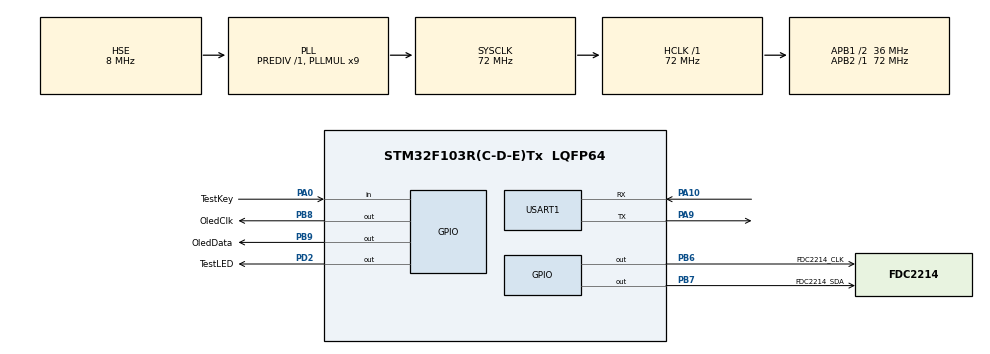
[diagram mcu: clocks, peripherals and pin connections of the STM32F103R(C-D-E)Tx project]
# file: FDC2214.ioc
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Mcu.Family=STM32F1
Mcu.Name=STM32F103R(C-D-E)Tx
Mcu.Package=LQFP64
NVIC.PriorityGroup=NVIC_PRIORITYGROUP_4
NVIC.TIM7_IRQn=true\:0\:0\:false\:false\:true\:true\:true\:true
NVIC.USART1_IRQn=true\:0\:0\:false\:false\:true\:true\:true\:true
PA0-WKUP.GPIO_Label=TestKey
PA0-WKUP.Signal=GPIO_Input
PA10.Mode=Asynchronous
PA10.Signal=USART1_RX
PA13.Mode=Serial_Wire
PA13.Signal=SYS_JTMS-SWDIO
PA14.Mode=Serial_Wire
PA14.Signal=SYS_JTCK-SWCLK
PA9.Mode=Asynchronous
PA9.Signal=USART1_TX
PB6.GPIO_Label=FDC2214_CLK
PB6.Signal=GPIO_Output
PB7.GPIO_Label=FDC2214_SDA
PB7.Signal=GPIO_Output
PB8.GPIO_Label=OledClk
PB8.Signal=GPIO_Output
PB9.GPIO_Label=OledData
PB9.Signal=GPIO_Output
PD0-OSC_IN.Mode=HSE-External-Oscillator
PD0-OSC_IN.Signal=RCC_OSC_IN
PD1-OSC_OUT.Mode=HSE-External-Oscillator
PD1-OSC_OUT.Signal=RCC_OSC_OUT
PD2.GPIO_Label=TestLED
PD2.Signal=GPIO_Output
ProjectManager.HeapSize=0x200
ProjectManager.StackSize=0x400
ProjectManager.TargetToolchain=MDK-ARM V5.32
RCC.AHBFreq_Value=72000000
RCC.APB1CLKDivider=RCC_HCLK_DIV2
RCC.APB1Freq_Value=36000000
RCC.APB1TimFreq_Value=72000000
RCC.APB2Freq_Value=72000000
RCC.APB2TimFreq_Value=72000000
RCC.HCLKFreq_Value=72000000
RCC.PLLMUL=RCC_PLL_MUL9
RCC.PLLSourceVirtual=RCC_PLLSOURCE_HSE
RCC.SYSCLKFreq_VALUE=72000000
RCC.SYSCLKSource=RCC_SYSCLKSOURCE_PLLCLK
RCC.USBFreq_Value=72000000
TIM7.Period=999
TIM7.Prescaler=71
USART1.VirtualMode=VM_ASYNC
VP_TIM7_VS_ClockSourceINT.Mode=Enable_Timer
board=custom

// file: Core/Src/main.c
/* USER CODE BEGIN Header */
/**
  ******************************************************************************
  * @file           : main.c
  * @brief          : Main program body
  ******************************************************************************
  * @attention
  *
  * Copyright (c) 2023 STMicroelectronics.
  * All rights reserved.
  *
  * This software is licensed under terms that can be found in the LICENSE file
  * in the root directory of this software component.
  * If no LICENSE file comes with this software, it is provided AS-IS.
  *
  ******************************************************************************
  */
/* USER CODE END Header */
#include "main.h"
#include "tim.h"
#include "usart.h"
#include "gpio.h"

/* USER CODE BEGIN Includes */
#include "stdio.h"
#include "oled_iic.h"
#include "STM32OledKey.h"
#include "Menu.h"
#include "string.h"
#include "iic.h"
#include "FDC2214.h"
/* USER CODE END Includes */

void SystemClock_Config(void);

int main(void)
{
  /* USER CODE BEGIN 1 */
//	u8 lcd_id[12];
	u16 C_date=0;
	u16 ID=0;

	u16 C_CH0_data=0;
	u16 C_CH0_data_low=0;
//  u32 C_CHO_data_final = 0;

	u16 C_CH1_data=0;
	u16 C_CH1_data_low=0;
	u32 C_CH1_data_final=0;

	u16 C_CH2_data=0;
	u16 C_CH2_data_low=0;
	u32 C_CH2_data_final=0;

	u16 C_CH3_data=0;
	u16 C_CH3_data_low=0;
	u32 C_CH3_data_final=0;

  /* USER CODE END 1 */

  /* MCU Configuration--------------------------------------------------------*/

  /* Reset of all peripherals, Initializes the Flash interface and the Systick. */
  HAL_Init();

  /* Configure the system clock */
  SystemClock_Config();

  /* Initialize all configured peripherals */
  MX_GPIO_Init();
  MX_TIM7_Init();
  MX_USART1_UART_Init();
  /* USER CODE BEGIN 2 */
	OledKeyInit(); //OLED、按键CH455、蜂鸣器初始化
	MainMenu();    //主菜单初始化
	FDC2214_IIC_Init();//FDC_IIC初始化
	FDC_Start();       //FDC初始化
	printf("Success!!!\r\n");
  __HAL_TIM_CLEAR_IT(&htim7,TIM_IT_UPDATE); //清除定时器初始化过程中的更新中断标志，避免定时器一启动就进入中断
	HAL_TIM_Base_Start_IT(&htim7);//使能定时器7更新中断并启动定时器
  /* USER CODE END 2 */

  /* Infinite loop */
  while (1)
  {

			HAL_Delay(100);
			C_date = FDC_read_reg(0x7E);       //读取ID
			ID =  FDC_read_reg(0x7F);	        //读取ID
			if(C_date!=0xFF00 && ID!=0xFF00)           //显示ID
			{
//          printf("%d ,%d \r\n",C_date,ID);
//					OLED_ShowNum(139,350,ID,5,24,0);
//					OLED_ShowNum(139,380,C_date,5,24,0);
			 }
//       HAL_Delay(100);

					if(C_date==0x5449 && ID==0x3055)    //当为相应ID时才读取寄存器的值
					{
							//读通道0数值
						 C_CH0_data = FDC_read_reg(0x00)&0xFFF;
						 C_CH0_data_low = FDC_read_reg(0x01);
						 C_CHO_data_final =((C_CH0_data<<16)+C_CH0_data_low);
							//读通道1数值
						 HAL_Delay(50);
						 C_CH1_data = FDC_read_reg(0x02)&0xFFF;
						 C_CH1_data_low = FDC_read_reg(0x03);
						 C_CH1_data_final =((C_CH1_data<<16)+C_CH1_data_low);
						//读通道2数值
						 HAL_Delay(50);
						 C_CH2_data=FDC_read_reg(0x04)&0xFFF;
						 C_CH2_data_low = FDC_read_reg(0x05);
						 C_CH2_data_final =((C_CH2_data<<16)+C_CH2_data_low);

							//读通道3数值
							HAL_Delay(50);
						 C_CH3_data=FDC_read_reg(0x06)&0xFFF;
						 C_CH3_data_low = FDC_read_reg(0x07);
						 C_CH3_data_final =((C_CH3_data<<16)+C_CH3_data_low);

						//显示相应通道读出来的值
							OLED_ShowNum(40,0,C_CHO_data_final,10,8);
							OLED_ShowNum(40,1,C_CH1_data_final,9,8);
							OLED_ShowNum(40,2,C_CH2_data_final,9,8);
							OLED_ShowNum(40,3,C_CH3_data_final,9,8);

			//          printf("%d \r\n",C_CHO_data_final/1000000);

					 }

    /* USER CODE BEGIN 3 */
  }//while
  /* USER CODE END 3 */
}//main

void SystemClock_Config(void)
{
  RCC_OscInitTypeDef RCC_OscInitStruct = {0};
  RCC_ClkInitTypeDef RCC_ClkInitStruct = {0};

  /** Initializes the RCC Oscillators according to the specified parameters
  * in the RCC_OscInitTypeDef structure.
  */
  RCC_OscInitStruct.OscillatorType = RCC_OSCILLATORTYPE_HSE;
  RCC_OscInitStruct.HSEState = RCC_HSE_ON;
  RCC_OscInitStruct.HSEPredivValue = RCC_HSE_PREDIV_DIV1;
  RCC_OscInitStruct.HSIState = RCC_HSI_ON;
  RCC_OscInitStruct.PLL.PLLState = RCC_PLL_ON;
  RCC_OscInitStruct.PLL.PLLSource = RCC_PLLSOURCE_HSE;
  RCC_OscInitStruct.PLL.PLLMUL = RCC_PLL_MUL9;
  if (HAL_RCC_OscConfig(&RCC_OscInitStruct) != HAL_OK)
  {
    Error_Handler();
  }

  /** Initializes the CPU, AHB and APB buses clocks
  */
  RCC_ClkInitStruct.ClockType = RCC_CLOCKTYPE_HCLK|RCC_CLOCKTYPE_SYSCLK
                              |RCC_CLOCKTYPE_PCLK1|RCC_CLOCKTYPE_PCLK2;
  RCC_ClkInitStruct.SYSCLKSource = RCC_SYSCLKSOURCE_PLLCLK;
  RCC_ClkInitStruct.AHBCLKDivider = RCC_SYSCLK_DIV1;
  RCC_ClkInitStruct.APB1CLKDivider = RCC_HCLK_DIV2;
  RCC_ClkInitStruct.APB2CLKDivider = RCC_HCLK_DIV1;

  if (HAL_RCC_ClockConfig(&RCC_ClkInitStruct, FLASH_LATENCY_2) != HAL_OK)
  {
    Error_Handler();
  }
}

/* USER CODE BEGIN 4 */
void delay_us(__IO unsigned int delay)
{
    int last, curr, val;
    int temp;
    while (delay != 0)
    {
        temp = delay > 900 ? 900 : delay;
        last = SysTick->VAL;
        curr = last - CPU_FREQUENCY_MHZ * temp;
        if (curr >= 0)
        {
            do
            {
                val = SysTick->VAL;
            }
            while ((val < last) && (val >= curr));
        }
        else
        {
            curr += CPU_FREQUENCY_MHZ * 1000;
            do
            {
              val = SysTick->VAL;
            }
            while ((val <= last) || (val > curr));
        }
        delay -= temp;
    }
}

#if 1
#pragma import(__use_no_semihosting)
//标准库需要的支持函数
struct __FILE
{
	int handle;
};

FILE __stdout;
//定义_sys_exit()以避免使用半主机模式
void _sys_exit(int x)
{
	x = x;
}
//重定义fputc函数
int fputc(int ch, FILE *f)
{
	while((USART1->SR&0X40)==0){};//循环发送,直到发送完毕
    USART1->DR = (unsigned char) ch;
	return ch;
}
#endif
/* USER CODE END 4 */

void Error_Handler(void)
{
  __disable_irq();
  while (1)
  {
  }
}
